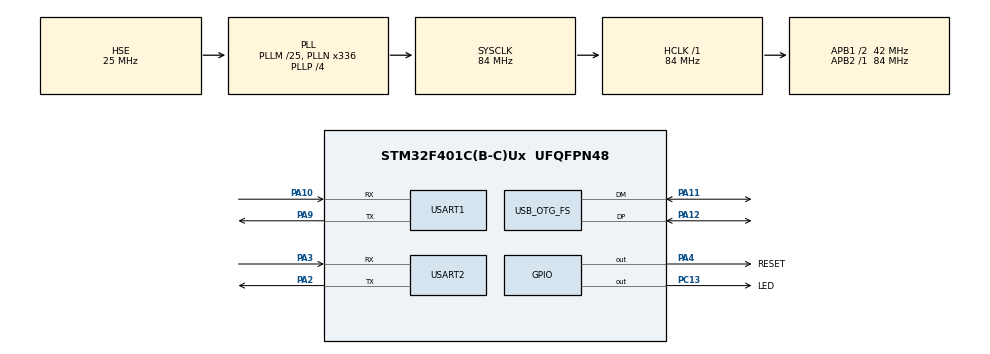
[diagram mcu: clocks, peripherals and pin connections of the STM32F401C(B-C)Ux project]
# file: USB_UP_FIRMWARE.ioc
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Mcu.Family=STM32F4
Mcu.Name=STM32F401C(B-C)Ux
Mcu.Package=UFQFPN48
NVIC.OTG_FS_IRQn=true\:0\:0\:false\:false\:true\:true\:true\:true
NVIC.PriorityGroup=NVIC_PRIORITYGROUP_4
NVIC.USART1_IRQn=true\:0\:0\:false\:false\:true\:true\:true\:true
NVIC.USART2_IRQn=true\:0\:0\:false\:false\:true\:true\:true\:true
PA10.GPIO_PuPd=GPIO_PULLUP
PA10.Mode=Asynchronous
PA10.Signal=USART1_RX
PA11.Mode=Device_Only
PA11.Signal=USB_OTG_FS_DM
PA12.Mode=Device_Only
PA12.Signal=USB_OTG_FS_DP
PA13.Mode=Serial_Wire
PA13.Signal=SYS_JTMS-SWDIO
PA14.Mode=Serial_Wire
PA14.Signal=SYS_JTCK-SWCLK
PA2.GPIO_PuPd=GPIO_PULLUP
PA2.Mode=Asynchronous
PA2.Signal=USART2_TX
PA3.GPIO_PuPd=GPIO_PULLUP
PA3.Mode=Asynchronous
PA3.Signal=USART2_RX
PA4.GPIO_Label=RESET
PA4.GPIO_Speed=GPIO_SPEED_FREQ_HIGH
PA4.PinState=GPIO_PIN_SET
PA4.Signal=GPIO_Output
PA9.GPIO_PuPd=GPIO_PULLUP
PA9.Mode=Asynchronous
PA9.Signal=USART1_TX
PC13-ANTI_TAMP.GPIO_Label=LED
PC13-ANTI_TAMP.PinState=GPIO_PIN_SET
PC13-ANTI_TAMP.Signal=GPIO_Output
PH0\ -\ OSC_IN.Mode=HSE-External-Oscillator
PH0\ -\ OSC_IN.Signal=RCC_OSC_IN
PH1\ -\ OSC_OUT.Mode=HSE-External-Oscillator
PH1\ -\ OSC_OUT.Signal=RCC_OSC_OUT
ProjectManager.HeapSize=0x200
ProjectManager.StackSize=0x400
ProjectManager.TargetToolchain=STM32CubeIDE
RCC.48MHZClocksFreq_Value=48000000
RCC.AHBFreq_Value=84000000
RCC.APB1CLKDivider=RCC_HCLK_DIV2
RCC.APB1Freq_Value=42000000
RCC.APB1TimFreq_Value=84000000
RCC.APB2Freq_Value=84000000
RCC.APB2TimFreq_Value=84000000
RCC.CortexFreq_Value=84000000
RCC.HCLKFreq_Value=84000000
RCC.HSE_VALUE=25000000
RCC.HSI_VALUE=16000000
RCC.LSE_VALUE=32768
RCC.PLLM=25
RCC.PLLN=336
RCC.PLLP=RCC_PLLP_DIV4
RCC.PLLQ=7
RCC.SYSCLKFreq_VALUE=84000000
RCC.SYSCLKSource=RCC_SYSCLKSOURCE_PLLCLK
RCC.VCOOutputFreq_Value=336000000
USART1.VirtualMode=VM_ASYNC
USART2.VirtualMode=VM_ASYNC
USB_DEVICE.CLASS_NAME_FS=CDC
USB_DEVICE.VirtualMode=Cdc
USB_DEVICE.VirtualModeFS=Cdc_FS
USB_OTG_FS.Sof_enable=DISABLE
USB_OTG_FS.VirtualMode=Device_Only
VP_USB_DEVICE_VS_USB_DEVICE_CDC_FS.Mode=CDC_FS
board=custom

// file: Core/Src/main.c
/* USER CODE BEGIN Header */
/**
  ******************************************************************************
  * @file           : main.c
  * @brief          : Main program body
  ******************************************************************************
  * @attention
  *
  * Copyright (c) 2023 STMicroelectronics.
  * All rights reserved.
  *
  * This software is licensed under terms that can be found in the LICENSE file
  * in the root directory of this software component.
  * If no LICENSE file comes with this software, it is provided AS-IS.
  *
  ******************************************************************************
  */
/* USER CODE END Header */
#include "main.h"
#include "usart.h"
#include "usb_device.h"
#include "gpio.h"

void SystemClock_Config(void);

/* USER CODE BEGIN 0 */
extern UART_HandleTypeDef huart2;

extern uint8_t CDC_Transmit_FS(uint8_t* Buf, uint16_t Len);

uint8_t rx_data[500] = {0};
uint8_t flag_reset_chip = 0;
uint8_t uart1_data = 0;
void HAL_UART_RxCpltCallback(UART_HandleTypeDef *huart)
{
	if (huart->Instance == USART1 )
	{
		CDC_Transmit_FS((uint8_t*) &uart1_data, 1);
		HAL_UART_Receive_IT(&huart1, &uart1_data, 1);
	}
}

void HAL_UARTEx_RxEventCallback(UART_HandleTypeDef *huart, uint16_t size)
{
	if( huart->Instance == USART2 )
	{
		CDC_Transmit_FS(rx_data, size);
		HAL_UARTEx_ReceiveToIdle_IT(&huart2, rx_data, 500);
	}

}

/* USER CODE END 0 */

int main(void)
{

  /* MCU Configuration--------------------------------------------------------*/

  /* Reset of all peripherals, Initializes the Flash interface and the Systick. */
  HAL_Init();

  /* Configure the system clock */
  SystemClock_Config();

  /* Initialize all configured peripherals */
  MX_GPIO_Init();
  MX_USB_DEVICE_Init();
  MX_USART2_UART_Init();
  MX_USART1_UART_Init();
  /* USER CODE BEGIN 2 */
  HAL_UARTEx_ReceiveToIdle_IT(&huart2, rx_data, 500);
  HAL_UART_Receive_IT(&huart1, &uart1_data, 1);
  /* USER CODE END 2 */

  /* Infinite loop */
  while (1)
  {

    /* USER CODE BEGIN 3 */
	if( flag_reset_chip )
	{
		HAL_GPIO_WritePin(RESET_GPIO_Port, RESET_Pin, GPIO_PIN_RESET);
		HAL_Delay(50);
		HAL_GPIO_WritePin(RESET_GPIO_Port, RESET_Pin, GPIO_PIN_SET);
		flag_reset_chip = 0;
	}
  }
  /* USER CODE END 3 */
}

void SystemClock_Config(void)
{
  RCC_OscInitTypeDef RCC_OscInitStruct = {0};
  RCC_ClkInitTypeDef RCC_ClkInitStruct = {0};

  /** Configure the main internal regulator output voltage
  */
  __HAL_RCC_PWR_CLK_ENABLE();
  __HAL_PWR_VOLTAGESCALING_CONFIG(PWR_REGULATOR_VOLTAGE_SCALE2);

  /** Initializes the RCC Oscillators according to the specified parameters
  * in the RCC_OscInitTypeDef structure.
  */
  RCC_OscInitStruct.OscillatorType = RCC_OSCILLATORTYPE_HSE;
  RCC_OscInitStruct.HSEState = RCC_HSE_ON;
  RCC_OscInitStruct.PLL.PLLState = RCC_PLL_ON;
  RCC_OscInitStruct.PLL.PLLSource = RCC_PLLSOURCE_HSE;
  RCC_OscInitStruct.PLL.PLLM = 25;
  RCC_OscInitStruct.PLL.PLLN = 336;
  RCC_OscInitStruct.PLL.PLLP = RCC_PLLP_DIV4;
  RCC_OscInitStruct.PLL.PLLQ = 7;
  if (HAL_RCC_OscConfig(&RCC_OscInitStruct) != HAL_OK)
  {
    Error_Handler();
  }

  /** Initializes the CPU, AHB and APB buses clocks
  */
  RCC_ClkInitStruct.ClockType = RCC_CLOCKTYPE_HCLK|RCC_CLOCKTYPE_SYSCLK
                              |RCC_CLOCKTYPE_PCLK1|RCC_CLOCKTYPE_PCLK2;
  RCC_ClkInitStruct.SYSCLKSource = RCC_SYSCLKSOURCE_PLLCLK;
  RCC_ClkInitStruct.AHBCLKDivider = RCC_SYSCLK_DIV1;
  RCC_ClkInitStruct.APB1CLKDivider = RCC_HCLK_DIV2;
  RCC_ClkInitStruct.APB2CLKDivider = RCC_HCLK_DIV1;

  if (HAL_RCC_ClockConfig(&RCC_ClkInitStruct, FLASH_LATENCY_2) != HAL_OK)
  {
    Error_Handler();
  }
}

void Error_Handler(void)
{
  __disable_irq();
  while (1)
  {
  }
}
